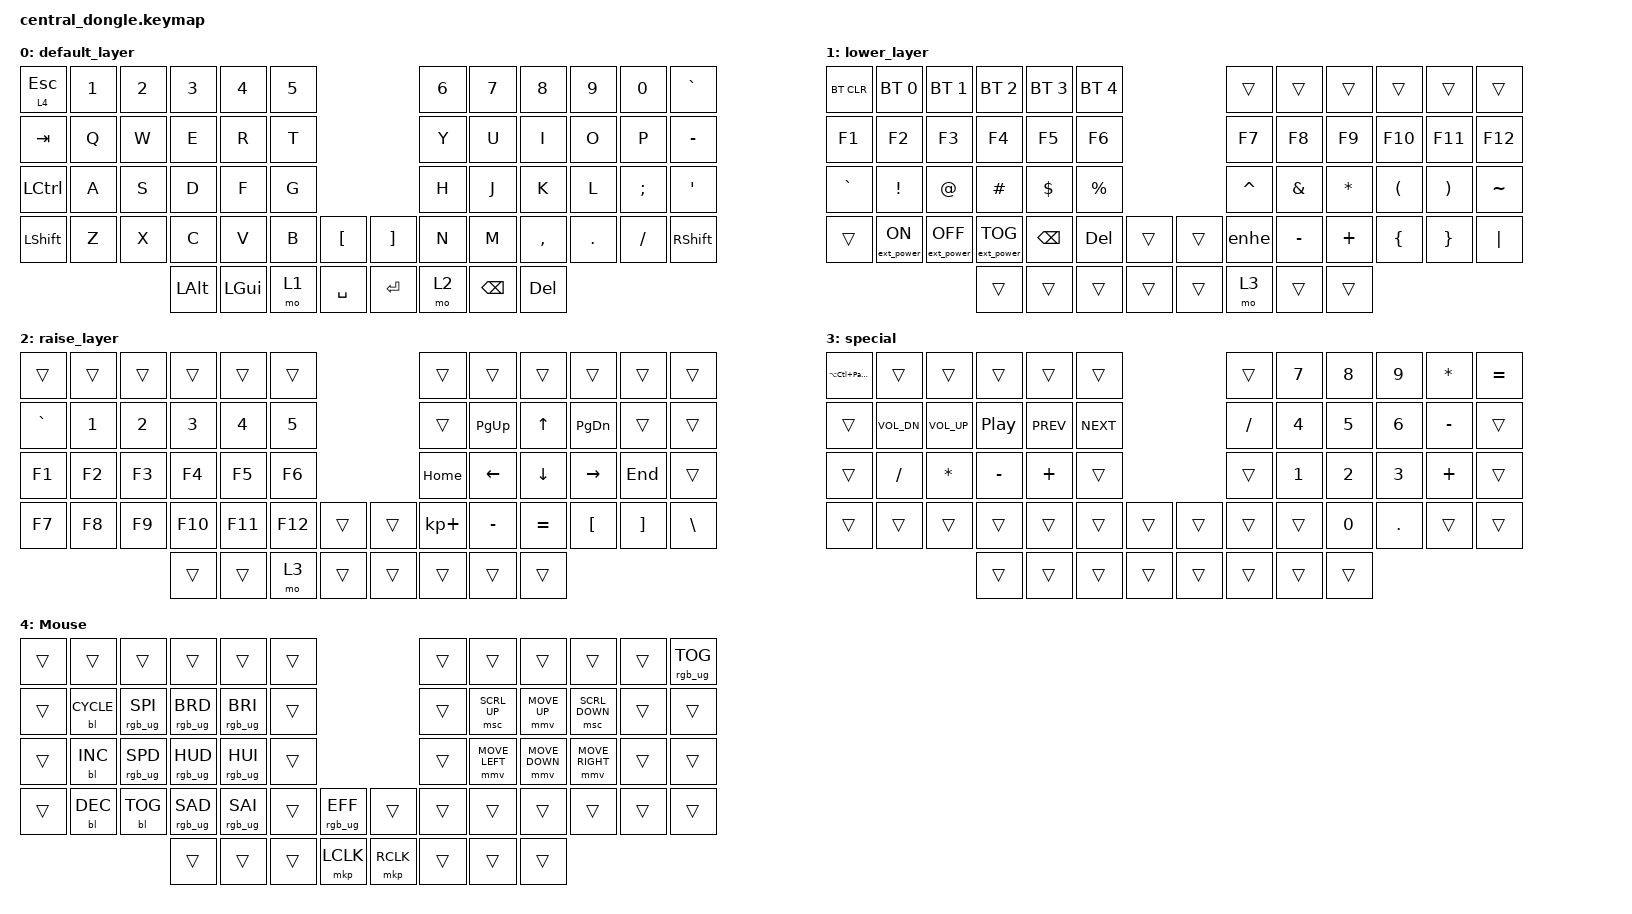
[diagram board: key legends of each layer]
/*
 * Copyright (c) 2020 The ZMK Contributors
 *
 * SPDX-License-Identifier: MIT
 */

#define ZMK_POINTING_DEFAULT_MOVE_VAL 1100
#define ZMK_POINTING_DEFAULT_SCRL_VAL 20

#include <behaviors.dtsi>
#include <dt-bindings/zmk/backlight.h>
#include <dt-bindings/zmk/bt.h>
#include <dt-bindings/zmk/ext_power.h>
#include <dt-bindings/zmk/keys.h>
#include <dt-bindings/zmk/pointing.h>
#include <dt-bindings/zmk/rgb.h>

/ {
    combos {
        compatible = "zmk,combos";

        combo_undo {
            bindings = <&kp LC(Z)>;
            key-positions = <37 38>;
        };

        combo_cut {
            bindings = <&kp LC(X)>;
            key-positions = <38 39>;
        };

        combo_copy {
            bindings = <&kp LC(C)>;
            key-positions = <39 40>;
        };

        combo_paste {
            bindings = <&kp LC(V)>;
            key-positions = <40 41>;
        };
    };

    macros {
        enhe: enhe {
            compatible = "zmk,behavior-macro";
            #binding-cells = <0>;
            bindings = <&kp RA(TILDE) &kp N>;
            label = "ENHE";
        };
    };

    keymap {
        compatible = "zmk,keymap";

        default_layer {
            bindings = <
&lt 4 ESC  &kp N1  &kp N2  &kp N3    &kp N4    &kp N5                         &kp N6  &kp N7    &kp N8     &kp N9   &kp N0    &kp GRAVE
&kp TAB    &kp Q   &kp W   &kp E     &kp R     &kp T                          &kp Y   &kp U     &kp I      &kp O    &kp P     &kp MINUS
&kp LCTRL  &kp A   &kp S   &kp D     &kp F     &kp G                          &kp H   &kp J     &kp K      &kp L    &kp SEMI  &kp SQT
&kp LSHFT  &kp Z   &kp X   &kp C     &kp V     &kp B   &kp LBKT     &kp RBKT  &kp N   &kp M     &kp COMMA  &kp DOT  &kp FSLH  &kp RSHFT
                           &kp LALT  &kp LGUI  &mo 1   &kp SPACE    &kp RET   &mo 2   &kp BSPC  &kp DEL
            >;
        };

        lower_layer {
            bindings = <
&bt BT_CLR  &bt BT_SEL 0      &bt BT_SEL 1       &bt BT_SEL 2       &bt BT_SEL 3   &bt BT_SEL 4                    &trans     &trans     &trans     &trans    &trans    &trans
&kp F1      &kp F2            &kp F3             &kp F4             &kp F5         &kp F6                          &kp F7     &kp F8     &kp F9     &kp F10   &kp F11   &kp F12
&kp GRAVE   &kp EXCL          &kp AT             &kp HASH           &kp DOLLAR     &kp PRCNT                       &kp CARET  &kp AMPS   &kp ASTRK  &kp LPAR  &kp RPAR  &kp TILDE
&trans      &ext_power EP_ON  &ext_power EP_OFF  &ext_power EP_TOG  &kp BACKSPACE  &kp DELETE    &trans    &trans  &enhe      &kp MINUS  &kp PLUS   &kp LBRC  &kp RBRC  &kp PIPE
                                                 &trans             &trans         &trans        &trans    &trans  &mo 3      &trans     &trans
            >;
        };

        raise_layer {
            bindings = <
&trans     &trans  &trans  &trans   &trans   &trans                     &trans       &trans       &trans     &trans         &trans    &trans
&kp GRAVE  &kp N1  &kp N2  &kp N3   &kp N4   &kp N5                     &trans       &kp PAGE_UP  &kp UP     &kp PAGE_DOWN  &trans    &trans
&kp F1     &kp F2  &kp F3  &kp F4   &kp F5   &kp F6                     &kp HOME     &kp LEFT     &kp DOWN   &kp RIGHT      &kp END   &trans
&kp F7     &kp F8  &kp F9  &kp F10  &kp F11  &kp F12  &trans    &trans  &kp KP_PLUS  &kp MINUS    &kp EQUAL  &kp LBKT       &kp RBKT  &kp BSLH
                           &trans   &trans   &mo 3    &trans    &trans  &trans       &trans       &trans
            >;
        };

        special {
            bindings = <
&kp LA(LC(PAUSE_BREAK))  &trans        &trans        &trans     &trans      &trans                       &trans     &kp N7  &kp N8  &kp N9   &kp ASTERISK  &kp EQUAL
&trans                   &kp C_VOL_DN  &kp C_VOL_UP  &kp C_PP   &kp C_PREV  &kp C_NEXT                   &kp SLASH  &kp N4  &kp N5  &kp N6   &kp MINUS     &trans
&trans                   &kp FSLH      &kp STAR      &kp MINUS  &kp PLUS    &trans                       &trans     &kp N1  &kp N2  &kp N3   &kp PLUS      &trans
&trans                   &trans        &trans        &trans     &trans      &trans      &trans   &trans  &trans     &trans  &kp N0  &kp DOT  &trans        &trans
                                                     &trans     &trans      &trans      &trans   &trans  &trans     &trans  &trans
            >;
        };

        Mouse {
            bindings = <
&trans  &trans        &trans           &trans           &trans           &trans                                &trans  &trans          &trans          &trans           &trans  &rgb_ug RGB_TOG
&trans  &bl BL_CYCLE  &rgb_ug RGB_SPI  &rgb_ug RGB_BRD  &rgb_ug RGB_BRI  &trans                                &trans  &msc SCRL_UP    &mmv MOVE_UP    &msc SCRL_DOWN   &trans  &trans
&trans  &bl BL_INC    &rgb_ug RGB_SPD  &rgb_ug RGB_HUD  &rgb_ug RGB_HUI  &trans                                &trans  &mmv MOVE_LEFT  &mmv MOVE_DOWN  &mmv MOVE_RIGHT  &trans  &trans
&trans  &bl BL_DEC    &bl BL_TOG       &rgb_ug RGB_SAD  &rgb_ug RGB_SAI  &trans  &rgb_ug RGB_EFF    &trans     &trans  &trans          &trans          &trans           &trans  &trans
                                       &trans           &trans           &trans  &mkp LCLK          &mkp RCLK  &trans  &trans          &trans
            >;
        };
    };
};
